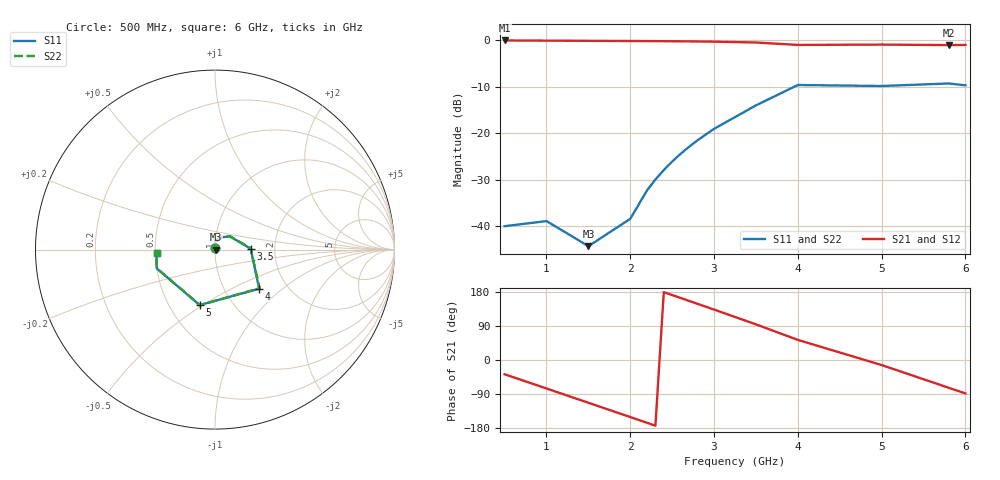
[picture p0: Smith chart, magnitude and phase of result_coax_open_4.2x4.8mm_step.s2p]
! PCB + BWSMA; 4.2 x 4.8 mm L2 cutouts; abrupt 1.2-to-0.37 mm PCB steps
! Coax reference planes x=-8.10 and 28.26 mm; connectors included; no de-embedding
# Hz S RI R 50
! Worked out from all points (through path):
!   20 points, 500 MHz to 6 GHz, reference 50 ohm
!   highest |S21| = -0.12 dB at 500 MHz (marker M1); lowest = -1.1 dB at 5.8 GHz (marker M2)
!   lowest |S11| = -44.2 dB at 1.5 GHz (marker M3), VSWR 1.01, Z = 50.6 - j0.0283 ohm
!   |S11| at or under -10 dB: start of sweep to 3.962 GHz
!   |S22| runs from -44.0 to -9.3 dB; largest |S21 - S12| = 1.4e-12
!   S11 on the Smith chart (normalised r, x): 500 MHz: 1.00, +0.02; 3.5 GHz: 1.50, +0.02; 4 GHz: 1.45, -0.71; 5 GHz: 0.70, -0.49; 6 GHz: 0.51, -0.02
5e8  -0.000885 0.01  0.7815 -0.6025  0.7815 -0.6025  -0.00088 0.0101
1e9  0.00873 0.00735  0.2509 -0.9496  0.2509 -0.9496  0.00882 0.00755
1.5e9  0.00614 -0.000279  -0.3793 -0.9012  -0.3793 -0.9012  0.00631 -0.000188
2e9  -0.00562 0.0107  -0.8479 -0.4781  -0.8479 -0.4781  -0.00575 0.0105
2.2e9  -0.00576 0.0237  -0.9415 -0.2391  -0.9415 -0.2391  -0.00616 0.0236
2.3e9  -0.00334 0.0317  -0.9638 -0.1123  -0.9638 -0.1123  -0.00389 0.0316
2.4e9  0.00124 0.0402  -0.969 0.0163  -0.969 0.0163  0.00054 0.0403
2.45e9  0.00444 0.0446  -0.9651 0.0807  -0.9651 0.0807  0.00366 0.0447
2.5e9  0.00829 0.0489  -0.9569 0.1446  -0.9569 0.1446  0.00744 0.0491
2.55e9  0.0128 0.0531  -0.9444 0.2079  -0.9444 0.2079  0.0119 0.0534
2.6e9  0.018 0.0571  -0.9277 0.2702  -0.9277 0.2702  0.017 0.0575
2.65e9  0.0239 0.0609  -0.9068 0.3313  -0.9068 0.3313  0.0229 0.0614
2.7e9  0.0305 0.0644  -0.8819 0.3908  -0.8819 0.3908  0.0295 0.065
2.8e9  0.0459 0.0699  -0.8201 0.504  -0.8201 0.504  0.0447 0.0707
3e9  0.0841 0.073  -0.6535 0.7003  -0.6535 0.7003  0.083 0.0744
3.5e9  0.1985 0.00506  -0.0666 0.9358  -0.0666 0.9358  0.1985 0.00772
4e9  0.2462 -0.2176  0.5312 0.7063  0.5312 0.7063  0.2481 -0.2153
5e9  -0.0854 -0.309  0.8668 -0.2054  0.8668 -0.2054  -0.0831 -0.3094
5.8e9  -0.3247 -0.1047  0.2536 -0.8428  0.2536 -0.8428  -0.3244 -0.1049
6e9  -0.3252 -0.0214  0.0277 -0.8827  0.0277 -0.8827  -0.325 -0.0211
